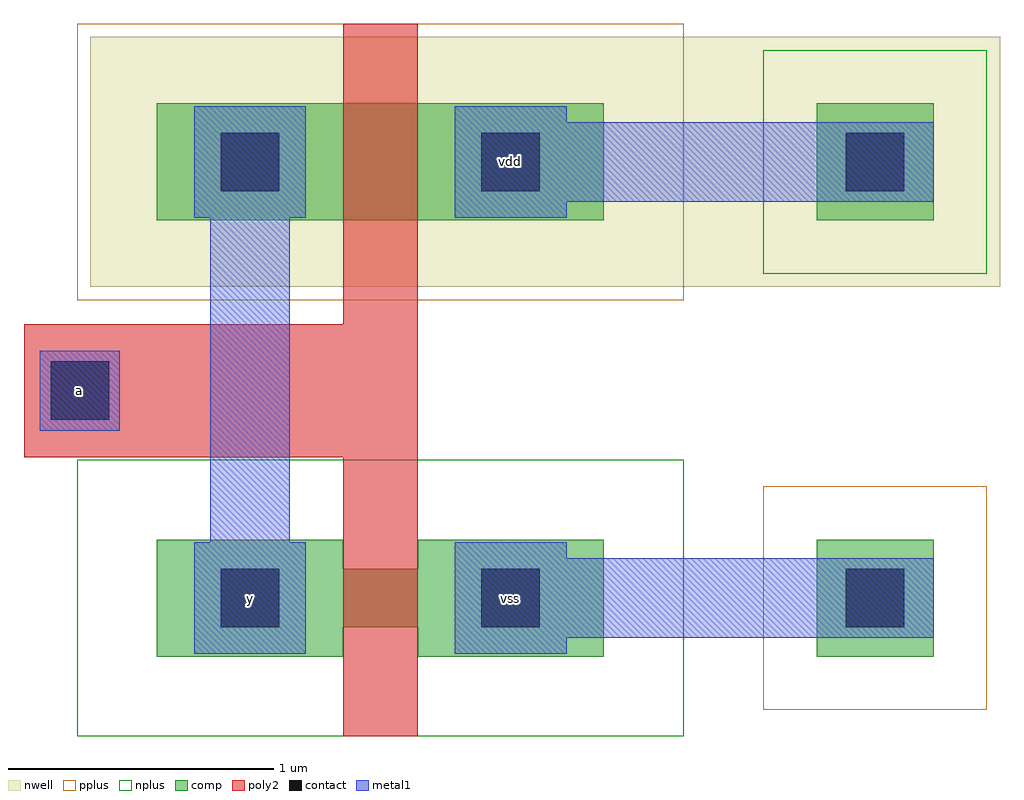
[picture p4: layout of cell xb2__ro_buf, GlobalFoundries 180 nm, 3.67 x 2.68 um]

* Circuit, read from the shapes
.subckt xb2__ro_buf a vdd vss y
XM1 vss a y vss nfet_03v3 w=0.22u l=0.28u
XM2 vdd a y vdd pfet_03v3 w=0.44u l=0.28u
.ends

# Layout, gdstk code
import gdstk
lib = gdstk.Library(unit=1e-6, precision=5e-10)
def R(c, l, rs):  # rectangles x0, y0, x1, y1
    for r in rs: c.add(gdstk.rectangle(r[:2], r[2:], *l))
nwell = (21, 0)
comp = (22, 0)
poly2 = (30, 0)
pplus = (31, 0)
nplus = (32, 0)
contact = (33, 0)
metal1 = (34, 0)

xb2__ro_buf = lib.new_cell('xb2__ro_buf')
R(xb2__ro_buf, nwell, [(-0.25,1.39,1.93,2.33), (1.83,1.39,3.17,2.33)])
R(xb2__ro_buf, comp, [(0,0,0.7,0.44), (0.98,0,1.68,0.44), (2.48,0,2.92,0.44), (0.7,0.11,0.98,0.33), (0,1.64,1.68,2.08), (2.48,1.64,2.92,2.08)])
R(xb2__ro_buf, poly2, [(0.7,-0.3,0.98,2.38), (-0.5,0.75,0.98,1.25)])
R(xb2__ro_buf, pplus, [(2.28,-0.2,3.12,0.64), (-0.3,1.34,1.98,2.38)])
R(xb2__ro_buf, nplus, [(-0.3,-0.3,1,0.74), (0.68,-0.3,1.98,0.74), (0.4,-0.19,1.28,0.63), (2.28,1.44,3.12,2.28)])
R(xb2__ro_buf, contact, [(0.24,0.11,0.46,0.33), (1.22,0.11,1.44,0.33), (2.59,0.11,2.81,0.33), (-0.4,0.89,-0.18,1.11), (0.24,1.75,0.46,1.97), (1.22,1.75,1.44,1.97), (2.59,1.75,2.81,1.97)])
R(xb2__ro_buf, metal1, [(0.14,0.01,0.56,0.43), (1.12,0.01,1.54,0.43), (1.44,0.07,2.92,0.37), (0.2,0.4,0.5,1.68), (-0.44,0.85,-0.14,1.15), (0.14,1.65,0.56,2.07), (1.12,1.65,1.54,2.07), (1.44,1.71,2.92,2.01)])
xb2__ro_buf.add(gdstk.Label('a', (-0.29,1), layer=34, texttype=10))
xb2__ro_buf.add(gdstk.Label('y', (0.35,0.22), layer=34, texttype=10))
xb2__ro_buf.add(gdstk.Label('vss', (1.33,0.22), layer=34, texttype=10))
xb2__ro_buf.add(gdstk.Label('vdd', (1.33,1.86), layer=34, texttype=10))

lib.write_gds('xb2__ro_buf.gds')
